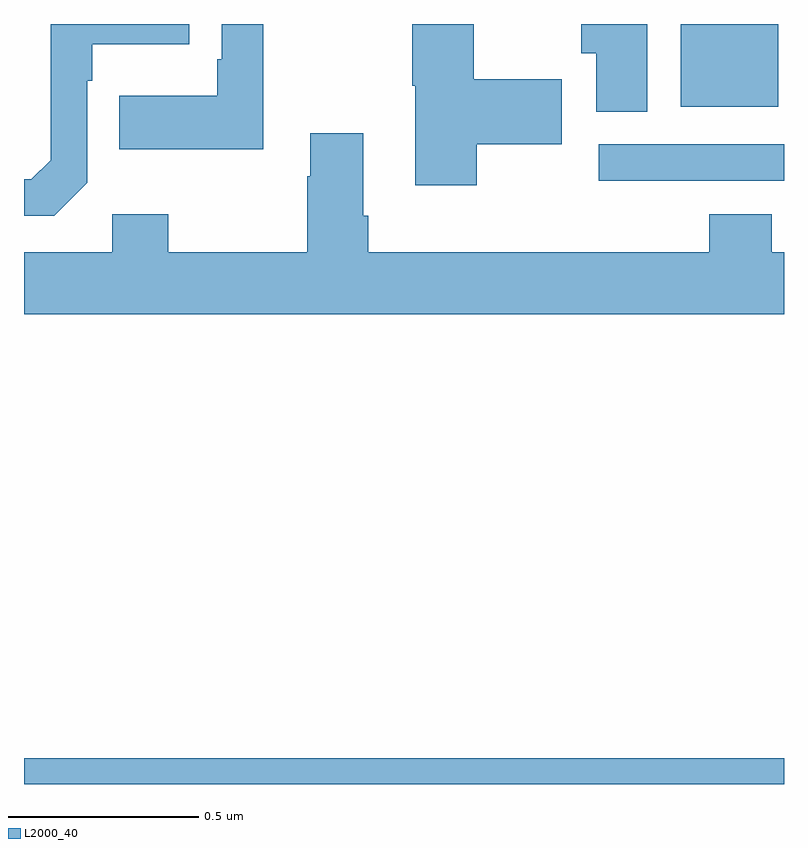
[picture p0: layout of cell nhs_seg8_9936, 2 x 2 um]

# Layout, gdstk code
import gdstk
lib = gdstk.Library(unit=1e-6, precision=1e-09)
def R(c, l, rs):  # rectangles x0, y0, x1, y1
    for r in rs: c.add(gdstk.rectangle(r[:2], r[2:], *l))
def P(c, l, *ps):  # polygons
    for p in ps: c.add(gdstk.Polygon(p, *l))
L2000_40 = (2000, 40)

nhs_seg8_9936 = lib.new_cell('nhs_seg8_9936')
R(nhs_seg8_9936, L2000_40, [(242,1145.9,244,1145.968), (243.513,1147.488,244,1147.584), (243.728,1147.682,243.985,1147.9)])
P(nhs_seg8_9936, L2000_40, [(243.192,1147.583),(243.415,1147.583),(243.415,1147.754),(243.184,1147.754),(243.184,1147.9),(243.022,1147.9),(243.022,1147.737),(243.029,1147.737),(243.029,1147.476),(243.192,1147.476)],
  [(243.64,1147.9),(243.467,1147.9),(243.467,1147.823),(243.506,1147.823),(243.506,1147.669),(243.64,1147.669)],
  [(242.629,1147.9),(242.52,1147.9),(242.52,1147.807),(242.508,1147.807),(242.508,1147.711),(242.251,1147.711),(242.251,1147.571),(242.629,1147.571)],
  [(242.166,1147.482),(242.166,1147.751),(242.179,1147.751),(242.179,1147.847),(242.435,1147.847),(242.435,1147.9),(242.07,1147.9),(242.07,1147.542),(242.019,1147.491),(242,1147.491),(242,1147.395),(242.079,1147.395)],
  [(242.753,1147.612),(242.753,1147.499),(242.746,1147.499),(242.746,1147.3),(242.379,1147.3),(242.379,1147.399),(242.232,1147.399),(242.232,1147.3),(242,1147.3),(242,1147.136),(244,1147.136),(244,1147.3),(243.968,1147.3),(243.968,1147.399),(243.803,1147.399),(243.803,1147.3),(242.906,1147.3),(242.906,1147.396),(242.893,1147.396),(242.893,1147.612)])

lib.write_gds('nhs_seg8_9936.gds')
